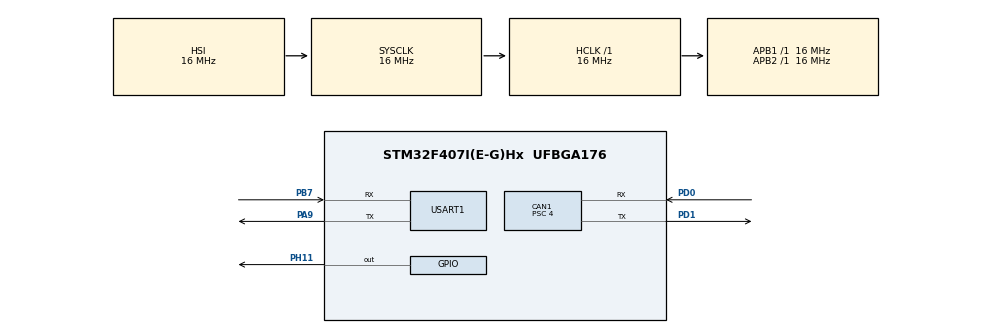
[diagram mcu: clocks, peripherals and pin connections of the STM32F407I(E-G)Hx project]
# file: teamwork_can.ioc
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CAN1.BS1=CAN_BS1_2TQ
CAN1.CalculateBaudRate=1000000
CAN1.CalculateTimeBit=1000
CAN1.CalculateTimeQuantum=250.0
CAN1.Prescaler=4
Mcu.Family=STM32F4
Mcu.Name=STM32F407I(E-G)Hx
Mcu.Package=UFBGA176
NVIC.CAN1_RX0_IRQn=true\:0\:0\:false\:false\:true\:true\:true\:true
NVIC.PriorityGroup=NVIC_PRIORITYGROUP_4
NVIC.USART1_IRQn=true\:0\:0\:false\:false\:true\:true\:true\:true
PA0-WKUP.Mode=SYS_WakeUp0
PA0-WKUP.Signal=SYS_WKUP
PA13.Mode=Serial_Wire
PA13.Signal=SYS_JTMS-SWDIO
PA14.Mode=Serial_Wire
PA14.Signal=SYS_JTCK-SWCLK
PA9.Mode=Asynchronous
PA9.Signal=USART1_TX
PB7.Mode=Asynchronous
PB7.Signal=USART1_RX
PD0.Mode=CAN_Activate
PD0.Signal=CAN1_RX
PD1.Mode=CAN_Activate
PD1.Signal=CAN1_TX
PH11.PinState=GPIO_PIN_SET
PH11.Signal=GPIO_Output
ProjectManager.HeapSize=0x200
ProjectManager.StackSize=0x400
ProjectManager.TargetToolchain=STM32CubeIDE
RCC.48MHZClocksFreq_Value=48000000
RCC.AHBFreq_Value=16000000
RCC.APB1Freq_Value=16000000
RCC.APB2Freq_Value=16000000
RCC.CortexFreq_Value=16000000
RCC.HSE_VALUE=25000000
RCC.HSI_VALUE=16000000
RCC.LSE_VALUE=32768
RCC.SYSCLKFreq_VALUE=16000000
RCC.VCOOutputFreq_Value=192000000
USART1.VirtualMode=VM_ASYNC
board=custom

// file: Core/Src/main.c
/* USER CODE BEGIN Header */
/**
  ******************************************************************************
  * @file           : main.c
  * @brief          : Main program body
  ******************************************************************************
  * @attention
  *
  * Copyright (c) 2024 STMicroelectronics.
  * All rights reserved.
  *
  * This software is licensed under terms that can be found in the LICENSE file
  * in the root directory of this software component.
  * If no LICENSE file comes with this software, it is provided AS-IS.
  *
  ******************************************************************************
  */
/* USER CODE END Header */
#include "main.h"
#include "can.h"
#include "usart.h"
#include "gpio.h"

/* USER CODE BEGIN Includes */
#include "bsp_can.h"
#include "CAN_receive.h"
#include "stdio.h"
#include "math.h"
#include "pid.h"
/* USER CODE END Includes */

/* USER CODE BEGIN PD */
#define pi  M_PI
/* USER CODE END PD */

/* USER CODE BEGIN PV */
char   flag_buff[1];//标志位数据缓存区
uint8_t   flag = 0 ; //0: speed  1:angle
int16_t   cnt = 0;
int16_t	  deviation_angle = 180 ;//角度偏移量
int16_t	  deviation_speed = 200 ;//速度偏移量
int16_t  target_yaw_speed = 40;//目标速度
float     target_yaw_angle = 40;//目标角度
float     now_yaw_angle;
/* USER CODE END PV */

void SystemClock_Config(void);

int main(void)
{

  /* MCU Configuration--------------------------------------------------------*/

  /* Reset of all peripherals, Initializes the Flash interface and the Systick. */
  HAL_Init();

  /* Configure the system clock */
  SystemClock_Config();

  /* Initialize all configured peripherals */
  MX_GPIO_Init();
  MX_CAN1_Init();
  MX_USART1_UART_Init();
  /* USER CODE BEGIN 2 */
  can_filter_init();
  gimbal_PID_init();

  HAL_UART_Receive_IT(&huart1, (uint8_t *)flag_buff, sizeof(flag_buff));
  /* USER CODE END 2 */

  /* Infinite loop */
  /* USER CODE BEGIN WHILE */
  while (1)
  {
	  now_yaw_angle = (float)(motor_chassis[0].ecd - 0)/8191.0f * 360.0f;//换算当前角度0-360°

//模拟越阶信号
	  cnt++;
	  if(cnt >= 256)
	  {
		  cnt = 0 ;
		  target_yaw_angle += (float)deviation_angle;
		  target_yaw_speed += deviation_speed;
		  deviation_speed = - deviation_speed ;
		  deviation_angle = - deviation_angle ;

	  }
//根据不用的标志位判断实现角度环还是速度环
	  if(flag == 0)
	  {
		  pid_calc(&gimbal_yaw_speed_pid,target_yaw_speed, (motor_chassis[0]).speed_rpm);//锟劫度伙拷
		  CAN_cmd_gimbal(gimbal_yaw_speed_pid.output,0, 0, 0);//锟劫度伙拷
		  printf(" %f, %d ,%d \r\n",gimbal_yaw_speed_pid.output,(motor_chassis[0]).speed_rpm,target_yaw_speed);
	  }
	  else
	  {
		 pid_calc(&gimbal_yaw_angle_pid,target_yaw_angle, now_yaw_angle);//锟角度伙拷
		 CAN_cmd_gimbal(gimbal_yaw_angle_pid.output,0, 0, 0);//锟角度伙拷
		 printf("%f ,%f , %f \r\n",gimbal_yaw_angle_pid.output,now_yaw_angle,target_yaw_angle);
	  }

	 printf("ecd,speed_rpm,given_current,temperate:%d,%d,%d,%d \r\n", (motor_chassis[0]).ecd, (motor_chassis[0]).speed_rpm, (motor_chassis[0]).given_current, (motor_chassis[0]).temperate);
    /* USER CODE END WHILE */

  }
}

void SystemClock_Config(void)
{
  RCC_OscInitTypeDef RCC_OscInitStruct = {0};
  RCC_ClkInitTypeDef RCC_ClkInitStruct = {0};

  /** Configure the main internal regulator output voltage
  */
  __HAL_RCC_PWR_CLK_ENABLE();
  __HAL_PWR_VOLTAGESCALING_CONFIG(PWR_REGULATOR_VOLTAGE_SCALE1);

  /** Initializes the RCC Oscillators according to the specified parameters
  * in the RCC_OscInitTypeDef structure.
  */
  RCC_OscInitStruct.OscillatorType = RCC_OSCILLATORTYPE_HSI;
  RCC_OscInitStruct.HSIState = RCC_HSI_ON;
  RCC_OscInitStruct.HSICalibrationValue = RCC_HSICALIBRATION_DEFAULT;
  RCC_OscInitStruct.PLL.PLLState = RCC_PLL_NONE;
  if (HAL_RCC_OscConfig(&RCC_OscInitStruct) != HAL_OK)
  {
    Error_Handler();
  }

  /** Initializes the CPU, AHB and APB buses clocks
  */
  RCC_ClkInitStruct.ClockType = RCC_CLOCKTYPE_HCLK|RCC_CLOCKTYPE_SYSCLK
                              |RCC_CLOCKTYPE_PCLK1|RCC_CLOCKTYPE_PCLK2;
  RCC_ClkInitStruct.SYSCLKSource = RCC_SYSCLKSOURCE_HSI;
  RCC_ClkInitStruct.AHBCLKDivider = RCC_SYSCLK_DIV1;
  RCC_ClkInitStruct.APB1CLKDivider = RCC_HCLK_DIV1;
  RCC_ClkInitStruct.APB2CLKDivider = RCC_HCLK_DIV1;

  if (HAL_RCC_ClockConfig(&RCC_ClkInitStruct, FLASH_LATENCY_0) != HAL_OK)
  {
    Error_Handler();
  }
}

void Error_Handler(void)
{
  __disable_irq();
  while (1)
  {
  }
}
